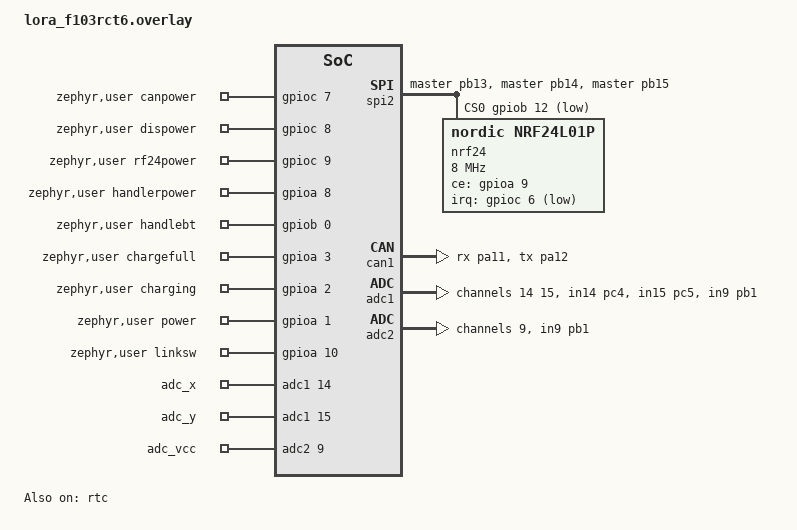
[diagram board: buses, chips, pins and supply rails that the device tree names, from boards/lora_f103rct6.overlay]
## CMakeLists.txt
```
# SPDX-License-Identifier: Apache-2.0

cmake_minimum_required(VERSION 3.20.0)

find_package(Zephyr REQUIRED HINTS $ENV{ZEPHYR_BASE})
project(mod_handler)

target_include_directories(app PRIVATE include)
target_sources(app PRIVATE
  src/adc.c
  src/can.c
  src/common.c
  src/display.c
  src/font_8x16.c
  src/font_5x8.c
  src/gpio.c
  src/rf24.c
  src/rf24_shell.c
  src/main.c
  src/persist.c
)
```

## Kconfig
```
# SPDX-License-Identifier: Apache-2.0
# mod_handler application configuration

mainmenu "mod_handler"

source "Kconfig.zephyr"

config MOD_HANDLER_ROW0_ASCII
	bool "Row 0 uses ASCII text instead of icons for connection type"
	default y
	help
	  Display "LoRa"/"CAN" text in Row 0 instead of bitmap icons.

config MOD_HANDLER_SCANNER_8X16
	bool "Use 8x16 font for scanner data rows"
	default y
	help
	  Use 8x16 font for overbreak/distance/coordinate display rows.
	  Disable to use 5x8 compact font.

config MOD_HANDLER_SHOW_XYZ
	bool "Show XYZ coordinate rows on display"
	default n
	help
	  Display X/Y/Z coordinate rows (Row 2-3). Disable to show only
	  overbreak and laser distance.
```

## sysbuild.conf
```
SB_CONFIG_BOOTLOADER_MCUBOOT=y
SB_CONFIG_MCUBOOT_MODE_SWAP_SCRATCH=y
SB_CONFIG_BOOT_SIGNATURE_KEY_FILE="${BOARD_DIR}/rsa_mcuboot_2048.pem"
```

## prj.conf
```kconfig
CONFIG_MAIN_STACK_SIZE=2048
CONFIG_SYSTEM_WORKQUEUE_STACK_SIZE=2048
# shell
CONFIG_SHELL=y
CONFIG_FLASH_MAP_SHELL=y
CONFIG_FLASH_SHELL=y

CONFIG_SERIAL=y
CONFIG_GPIO=y
CONFIG_LOG=y
# 增大缓冲 + 缓冲满时阻塞而非丢弃 (调试高频 log 不丢)
CONFIG_LOG_BUFFER_SIZE=4096
CONFIG_LOG_BLOCK_IN_THREAD=y

# 软件栈溢出检测 (Cortex-M3 无 SPLIM, 板级未开 ARM_MPU, 故 HW_STACK_PROTECTION
# 无效; STACK_SENTINEL 在线程栈底埋 magic, 上下文切换/中断退出时检查,
# 踩踏 → K_ERR_STACK_CHK_FAIL fatal)
CONFIG_STACK_SENTINEL=y

# can
CONFIG_CAN=y
CONFIG_CAN_SHELL=y
CONFIG_CAN_FW_UPGRADE=y

# spi + nRF24L01+ 2.4G 无线
CONFIG_SPI=y
CONFIG_NRF24L01P=y

# nRF24 链路层 XXTEA-CTR 加密 (用 rf24 地址作密钥; 须与 gateway 同时开关)
CONFIG_NRF24L01P_CRYPT=n

# adc
CONFIG_ADC=y

# img
CONFIG_IMG_MANAGER=y
CONFIG_STREAM_FLASH=y

# reboot
CONFIG_REBOOT=y

# i2c
CONFIG_I2C=y

#CRC
CONFIG_CRC=y

# hwinfo: 读 STM32 96-bit UID 派生 5B nRF24 地址 (HWINFO_STM32 默认随 SOC 自动启用)
CONFIG_HWINFO=y

# display
CONFIG_DISPLAY=y
# CONFIG_CHARACTER_FRAMEBUFFER=y

# Settings persistent storage (FCB backend)
CONFIG_SETTINGS=y
CONFIG_SETTINGS_RUNTIME=y
CONFIG_FCB=y

# PM
CONFIG_PM=y
CONFIG_PM_DEVICE=y
CONFIG_PM_DEVICE_SYSTEM_MANAGED=y
CONFIG_PM_DEVICE_SHELL=y
# 自定义 PM policy: sleeping 时无视任何定时器强制进 STOP, 保证真正进入低功耗
CONFIG_PM_POLICY_CUSTOM=y

# Display layout
CONFIG_MOD_HANDLER_ROW0_ASCII=y
CONFIG_MOD_HANDLER_SCANNER_8X16=y
# CONFIG_MOD_HANDLER_SHOW_XYZ is not set
```

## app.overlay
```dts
#include <zephyr/dt-bindings/gpio/gpio.h>

/ {
    	aliases {
        	sw0 = &button0;
    	};
	chosen {
		zephyr,canbus = &can1;
	};
        buttons {
        	compatible = "gpio-keys";
        	button0: button_0 {
			gpios = <&gpioc 13 GPIO_ACTIVE_HIGH>;
			label = "User button";
        	};
    	};

};

&usart2 {
	pinctrl-0 = <&usart2_tx_pa2 &usart2_rx_pa3>;
	pinctrl-names = "default";
	current-speed = <19200>;
	status = "okay";
};

&can1 {
	pinctrl-0 = <&can_rx_pa11 &can_tx_pa12>;
	pinctrl-names = "default";
	status = "okay";
};
```

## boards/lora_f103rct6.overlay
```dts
/ {
	chosen {
		zephyr,canbus = &can1;
		zephyr,settings-partition = &cfg_partition;
	};

	zephyr,user {
		canpower-gpios = <&gpioc 7 GPIO_ACTIVE_HIGH>;
		dispower-gpios = <&gpioc 8 GPIO_ACTIVE_HIGH>;
		rf24power-gpios = <&gpioc 9 GPIO_ACTIVE_HIGH>;
		handlerpower-gpios = <&gpioa 8 GPIO_ACTIVE_HIGH>;

		handlebt-gpios = <&gpiob 0 GPIO_ACTIVE_HIGH>;

		chargefull-gpios = <&gpioa 3 GPIO_PULL_UP>;
		charging-gpios = <&gpioa 2 GPIO_PULL_UP>;
		power-gpios = <&gpioa 1 GPIO_PULL_UP>;
		linksw-gpios = <&gpioa 10 GPIO_PULL_UP>;

		io-channels = <&adc1 14>, <&adc1 15>, <&adc2 9>;
		io-channel-names = "adc_x", "adc_y", "adc_vcc";
	};
};

&spi2 {
	pinctrl-0 = <&spi2_sck_master_pb13
		     &spi2_miso_master_pb14
		     &spi2_mosi_master_pb15>;
	pinctrl-names = "default";
	cs-gpios = <&gpiob 12 GPIO_ACTIVE_LOW>;
	status = "okay";

	nrf24: nrf24l01p@0 {
		compatible = "nordic,nrf24l01p";
		reg = <0x0>;
		spi-max-frequency = <8000000>;
		ce-gpios = <&gpioa 9 GPIO_ACTIVE_HIGH>;
		irq-gpios = <&gpioc 6 GPIO_ACTIVE_LOW>;
		channel = <76>;
		data-rate = "1m";
		tx-power = "0dbm";
	};
};

&can1 {
	pinctrl-0 = <&can_rx_pa11 &can_tx_pa12>;
	pinctrl-names = "default";
	status = "okay";
};

&adc1 {
    status = "okay";
    pinctrl-0 = <&adc1_in14_pc4 &adc1_in15_pc5 &adc1_in9_pb1>;
    pinctrl-names = "default";
    #address-cells = <1>;
    #size-cells = <0>;

    channel@e {
        reg = <14>;
        zephyr,gain = "ADC_GAIN_1";
        zephyr,reference = "ADC_REF_INTERNAL";
        zephyr,acquisition-time = <ADC_ACQ_TIME_DEFAULT>;
        zephyr,resolution = <12>;
    };

    channel@f {
        reg = <15>;
        zephyr,gain = "ADC_GAIN_1";
        zephyr,reference = "ADC_REF_INTERNAL";
        zephyr,acquisition-time = <ADC_ACQ_TIME_DEFAULT>;
        zephyr,resolution = <12>;
    };


};
&adc2 {
    status = "okay";
    pinctrl-0 = <&adc2_in9_pb1>;
    pinctrl-names = "default";
    #address-cells = <1>;
    #size-cells = <0>;
    channel@9 {
        reg = <9>;
        zephyr,gain = "ADC_GAIN_1";
        zephyr,reference = "ADC_REF_INTERNAL";
        zephyr,acquisition-time = <ADC_ACQ_TIME_DEFAULT>;
        zephyr,resolution = <12>;
    };
};

&rtc {
    clocks = <&rcc STM32_CLOCK_BUS_APB1 0x10000000>,
             <&rcc STM32_SRC_LSI RTC_SEL(2)>;
    status = "okay";
};
```

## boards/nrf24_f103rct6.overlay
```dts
/ {
	chosen {
		zephyr,canbus = &can1;
		zephyr,settings-partition = &cfg_partition;
	};

	zephyr,user {
		canpower-gpios = <&gpioc 7 GPIO_ACTIVE_HIGH>;
		dispower-gpios = <&gpioc 8 GPIO_ACTIVE_HIGH>;
		handlerpower-gpios = <&gpioa 8 GPIO_ACTIVE_HIGH>;

		handlebt-gpios = <&gpiob 0 GPIO_ACTIVE_HIGH>;

		chargefull-gpios = <&gpioa 3 GPIO_PULL_UP>;
		charging-gpios = <&gpioa 2 GPIO_PULL_UP>;
		power-gpios = <&gpioa 1 GPIO_PULL_UP>;
		linksw-gpios = <&gpioa 10 GPIO_PULL_UP>;

		io-channels = <&adc1 14>, <&adc1 15>, <&adc2 9>;
		io-channel-names = "adc_x", "adc_y", "adc_vcc";
	};
};

&spi2 {
	pinctrl-0 = <&spi2_sck_master_pb13
		     &spi2_miso_master_pb14
		     &spi2_mosi_master_pb15>;
	pinctrl-names = "default";
	cs-gpios = <&gpiob 12 GPIO_ACTIVE_LOW>;
	status = "okay";

	nrf24: nrf24l01p@0 {
		compatible = "nordic,nrf24l01p";
		reg = <0x0>;
		spi-max-frequency = <8000000>;
		ce-gpios = <&gpioa 9 GPIO_ACTIVE_HIGH>;
		irq-gpios = <&gpioc 6 GPIO_ACTIVE_LOW>;
		power-gpios = <&gpioc 9 GPIO_ACTIVE_HIGH>;
		channel = <1>;
		data-rate = "1m";
		tx-power = "0dbm";
		/* 半双工冲突优化: 缩短单次 TX 最坏占用 (ARD×ARC), 让冲突后更快切回
		 * PRX 给对端 ACK 机会. ARD=1500us + ARC=9 → 最坏 ~13.5ms (默认 4ms×15=60ms). */
		ard-us = <1500>;
		arc = <9>;
	};
};

&can1 {
	pinctrl-0 = <&can_rx_pa11 &can_tx_pa12>;
	pinctrl-names = "default";
	status = "okay";
};

&adc1 {
    status = "okay";
    pinctrl-0 = <&adc1_in14_pc4 &adc1_in15_pc5 &adc1_in9_pb1>;
    pinctrl-names = "default";
    #address-cells = <1>;
    #size-cells = <0>;

    channel@e {
        reg = <14>;
        zephyr,gain = "ADC_GAIN_1";
        zephyr,reference = "ADC_REF_INTERNAL";
        zephyr,acquisition-time = <ADC_ACQ_TIME_DEFAULT>;
        zephyr,resolution = <12>;
    };

    channel@f {
        reg = <15>;
        zephyr,gain = "ADC_GAIN_1";
        zephyr,reference = "ADC_REF_INTERNAL";
        zephyr,acquisition-time = <ADC_ACQ_TIME_DEFAULT>;
        zephyr,resolution = <12>;
    };


};
&adc2 {
    status = "okay";
    pinctrl-0 = <&adc2_in9_pb1>;
    pinctrl-names = "default";
    #address-cells = <1>;
    #size-cells = <0>;
    channel@9 {
        reg = <9>;
        zephyr,gain = "ADC_GAIN_1";
        zephyr,reference = "ADC_REF_INTERNAL";
        zephyr,acquisition-time = <ADC_ACQ_TIME_DEFAULT>;
        zephyr,resolution = <12>;
    };
};

&rtc {
    clocks = <&rcc STM32_CLOCK_BUS_APB1 0x10000000>,
             <&rcc STM32_SRC_LSI RTC_SEL(2)>;
    status = "okay";
};

/* PM 低功耗状态: 外设电源由应用层 system_sleep/system_wake 管理 (GPIO 断电),
 * PM 子系统进 STOP 时挂起设备 (I2C2 经 sleep pinctrl 切 analog 释放总线,
 * 唤醒后自动恢复) —— 防止 OLED 断电期间 I2C 总线被拉低卡死、唤醒后无法恢复。 */
&stop0 {
};

&stop1 {
};
```

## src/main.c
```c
/*
 * Copyright (c) 2026 Kabirz.
 * SPDX-License-Identifier: Apache-2.0
 *
 * 主入口 + 主循环 (休眠/唤醒事件驱动, 10 分钟无操作自动休眠)
 */

#include <zephyr/app_version.h>
#include <fw_gitver.h>
#ifndef CONFIG_FLASH_SIZE
#define CONFIG_FLASH_SIZE 0x1000
#endif
#include <zephyr/logging/log.h>
#include <common.h>
#include <mod-can.h>
#include <display.h>
#include <mod-gpio.h>
#include <rf24.h>
#include <zephyr/settings/settings.h>

LOG_MODULE_REGISTER(main_app, LOG_LEVEL_INF);

#define ACTIVITY_TIMEOUT_MS (10 * 60 * 1000) /* 10 minutes */

volatile uint32_t last_activity_time;
extern int adc_init_channels(void);

int main(void)
{
	LOG_INF("build time: %s-%s", __DATE__, __TIME__);
	LOG_INF("board: %s, system clk: %dMHz", CONFIG_BOARD_TARGET,
		CONFIG_SYS_CLOCK_HW_CYCLES_PER_SEC / MHZ(1));
	LOG_INF("flash size: %dKB, ram size: %dKB", CONFIG_FLASH_SIZE, CONFIG_SRAM_SIZE);
	LOG_INF("version: v%d.%d.%d_%s", APP_VERSION_MAJOR, APP_VERSION_MINOR,
		APP_PATCHLEVEL, FW_GIT_VERSION);

	last_activity_time = k_uptime_get_32();
	adc_init_channels();
	gpio_init();

	settings_load();

	connect_switch(global_params.connect_type);

	while (1) {
		if (global_params.sleeping) {
			k_event_wait(&global_params.event, WAKE_EVENT, false, K_FOREVER);
			continue;
		}

		if ((k_uptime_get_32() - last_activity_time) > ACTIVITY_TIMEOUT_MS) {
			system_sleep();
			LOG_INF("system entering sleep (inactivity timeout)");
			continue;
		}

		k_sleep(K_MSEC(500));
	}

	return 0;
}
```

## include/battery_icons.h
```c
// ============================================================
// Battery Icons for SH1106 Display (24x16, icon 24x10 centered)
// Format: Column-major, page-interleaved, LSB=top pixel
// 2 pages x 24 columns = 48 bytes per icon
// ============================================================

#ifndef BATTERY_ICONS_H
#define BATTERY_ICONS_H

#include <stdint.h>

#define BATTERY_ICON_W  24
#define BATTERY_ICON_H  16
#define BATTERY_ICON_PAGES  2
#define BATTERY_ICON_SIZE  (48)

// battery_levels[level] : level 0..4
// Data order: page0 cols[0..23] then page1 cols[0..23]
// [0] = battery_0
//     ........................
//     ........................
//     ........................
//     ######################..
//     #....................#..
//     #....................###
//     #....................###
//     #....................###
//     #....................###
//     #....................###
//     #....................###
//     #....................#..
//     ######################..
//     ........................
//     ........................
//     ........................
// [1] = battery_1
//     ........................
//     ........................
//     ........................
//     ######################..
//     #####................#..
//     #####................###
//     #####................###
//     #####................###
//     #####................###
//     #####................###
//     #####................###
//     #####................#..
//     ######################..
//     ........................
//     ........................
//     ........................
// [2] = battery_2
//     ........................
//     ........................
//     ........................
//     ######################..
//     #####.####...........#..
//     #####.####...........###
//     #####.####...........###
//     #####.####...........###
//     #####.####...........###
//     #####.####...........###
//     #####.####...........###
//     #####.####...........#..
//     ######################..
//     ........................
//     ........................
//     ........................
// [3] = battery_3
//     ........................
//     ........................
//     ........................
//     ######################..
//     #####.####.####......#..
//     #####.####.####......###
//     #####.####.####......###
//     #####.####.####......###
//     #####.####.####......###
//     #####.####.####......###
//     #####.####.####......###
//     #####.####.####......#..
//     ######################..
//     ........................
//     ........................
//     ........................
// [4] = battery_4
//     ........................
//     ........................
//     ........................
//     ######################..
//     #####.####.####.####.#..
//     #####.####.####.####.###
//     #####.####.####.####.###
//     #####.####.####.####.###
//     #####.####.####.####.###
//     #####.####.####.####.###
//     #####.####.####.####.###
//     #####.####.####.####.#..
//     ######################..
//     ........................
//     ........................
//     ........................
const uint8_t battery_levels[5][48] = {
    { // [0] level 0
        0xF8, 0x08, 0x08, 0x08, 0x08, 0x08, 0x08, 0x08, 0x08, 0x08, 0x08, 0x08,
        0x08, 0x08, 0x08, 0x08, 0x08, 0x08, 0x08, 0x08, 0x08, 0xF8, 0xE0, 0xE0,
        0x1F, 0x10, 0x10, 0x10, 0x10, 0x10, 0x10, 0x10, 0x10, 0x10, 0x10, 0x10,
        0x10, 0x10, 0x10, 0x10, 0x10, 0x10, 0x10, 0x10, 0x10, 0x1F, 0x07, 0x07
    },
    { // [1] level 1
        0xF8, 0xF8, 0xF8, 0xF8, 0xF8, 0x08, 0x08, 0x08, 0x08, 0x08, 0x08, 0x08,
        0x08, 0x08, 0x08, 0x08, 0x08, 0x08, 0x08, 0x08, 0x08, 0xF8, 0xE0, 0xE0,
        0x1F, 0x1F, 0x1F, 0x1F, 0x1F, 0x10, 0x10, 0x10, 0x10, 0x10, 0x10, 0x10,
        0x10, 0x10, 0x10, 0x10, 0x10, 0x10, 0x10, 0x10, 0x10, 0x1F, 0x07, 0x07
    },
    { // [2] level 2
        0xF8, 0xF8, 0xF8, 0xF8, 0xF8, 0x08, 0xF8, 0xF8, 0xF8, 0xF8, 0x08, 0x08,
        0x08, 0x08, 0x08, 0x08, 0x08, 0x08, 0x08, 0x08, 0x08, 0xF8, 0xE0, 0xE0,
        0x1F, 0x1F, 0x1F, 0x1F, 0x1F, 0x10, 0x1F, 0x1F, 0x1F, 0x1F, 0x10, 0x10,
        0x10, 0x10, 0x10, 0x10, 0x10, 0x10, 0x10, 0x10, 0x10, 0x1F, 0x07, 0x07
    },
    { // [3] level 3
        0xF8, 0xF8, 0xF8, 0xF8, 0xF8, 0x08, 0xF8, 0xF8, 0xF8, 0xF8, 0x08, 0xF8,
        0xF8, 0xF8, 0xF8, 0x08, 0x08, 0x08, 0x08, 0x08, 0x08, 0xF8, 0xE0, 0xE0,
        0x1F, 0x1F, 0x1F, 0x1F, 0x1F, 0x10, 0x1F, 0x1F, 0x1F, 0x1F, 0x10, 0x1F,
        0x1F, 0x1F, 0x1F, 0x10, 0x10, 0x10, 0x10, 0x10, 0x10, 0x1F, 0x07, 0x07
    },
    { // [4] level 4
        0xF8, 0xF8, 0xF8, 0xF8, 0xF8, 0x08, 0xF8, 0xF8, 0xF8, 0xF8, 0x08, 0xF8,
        0xF8, 0xF8, 0xF8, 0x08, 0xF8, 0xF8, 0xF8, 0xF8, 0x08, 0xF8, 0xE0, 0xE0,
        0x1F, 0x1F, 0x1F, 0x1F, 0x1F, 0x10, 0x1F, 0x1F, 0x1F, 0x1F, 0x10, 0x1F,
        0x1F, 0x1F, 0x1F, 0x10, 0x1F, 0x1F, 0x1F, 0x1F, 0x10, 0x1F, 0x07, 0x07
    }
};

// icon_charging
// ................
// ................
// ................
// ................
// .......##.......
// ......##........
// .....##.........
// ....######......
// ........##......
// .......##.......
// ......##........
// .....##.........
// ................
// ................
// ................
// ................
const uint8_t icon_charging[32] = {
        0x00, 0x00, 0x00, 0x00, 0x80, 0xC0, 0xE0, 0xB0, 0x90, 0x80, 0x00, 0x00, 0x00, 0x00, 0x00, 0x00,
        0x00, 0x00, 0x00, 0x00, 0x00, 0x08, 0x0C, 0x06, 0x03, 0x01, 0x00, 0x00, 0x00, 0x00, 0x00, 0x00
};

#endif // BATTERY_ICONS_H
```

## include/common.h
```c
#ifndef _MOD_COMMON_H
#define _MOD_COMMON_H

#include <zephyr/kernel.h>

typedef enum {
	BATTERY_STATUS_UNKNOWN = 0,
	BATTERY_STATUS_FULL,
	BATTERY_STATUS_CHARGING,
	BATTERY_STATUS_NOT_CHARGING,
	BATTERY_STATUS_DISCHARGING,
} battery_status_t;

typedef struct {
	int8_t overbreak_valid;
	int32_t overbreak_value;
	int8_t laser_valid;
	int32_t laser_distance;
	int8_t coord_xy_valid;
	int32_t coord_x;
	int32_t coord_y;
	int8_t coord_z_valid;
	int32_t coord_z;
} scanner_data_t;

#define WAKE_EVENT     BIT(0)
#define CAN_EVENT      BIT(2)
#define RF24_EVENT     BIT(3) /* 2.4G (nRF24L01+) 无线模式事件 */

typedef struct {
	int x_degree;
	int y_degree;
	uint8_t h_button;
	uint32_t power_mv;
#define CAN_TYPE   1
#define RF24_TYPE  2 /* 2.4G (nRF24L01+) 无线模式 */
#define REPORT_PERIOD_MS 800   /* 周期状态上报间隔，CAN/RF24 共用 */
	uint8_t connect_type;
	uint32_t report_period;
	battery_status_t battery_status;
	scanner_data_t scanner;
	uint8_t rssi;
	volatile bool sleeping;
	struct k_event event;
	bool log;
#define RF24_ADDR_LEN 5
#define RF24_FIXED_CH  1   /* nRF24 信道固定为 1, 不可配 */
	uint8_t rf24_addr[RF24_ADDR_LEN];
} global_params_t;

extern global_params_t global_params;

/* 按 connect_type 发送指定数据（CAN 帧 HANDLER_STATE / RF24 遥测）。
 * data/len 由调用方组装（CAN 通常 8 字节，RF24 7 字节）。返回 0 成功，<0 失败。
 */
int send_handler_state(const uint8_t *data, uint8_t len);

extern volatile uint32_t last_activity_time;

#endif
```

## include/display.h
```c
#ifndef _MOD_DISPLAY_H
#define _MOD_DISPLAY_H
#include <common.h>

void mod_display_reinit(void);
int mod_display_init(void);
void mod_display_clear(void);
void mod_display_lora(uint8_t rssi);
void mod_display_battery(uint32_t mv, battery_status_t status);
void mod_display_can(void);

void mod_display_scanner(const scanner_data_t *s);
void mod_display_all(const global_params_t *params);

/* 测试模式显示 (Row 1-3) */
void mod_display_test_rssi(int8_t rssi_raw, int8_t snr_raw);
void mod_display_test_loss(uint32_t loss_count);
void mod_display_test_rtt(uint32_t rtt_ms, uint32_t avg_ms);
void mod_display_test_all(const global_params_t *params);
void mod_display_normal_rows(const global_params_t *params);

#endif
```

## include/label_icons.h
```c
// ============================================================
// Label Icons for SH1106 Display (8x16, content 8x10 centered)
// Format: page0 cols[0..7] then page1 cols[0..7]
// 2 pages x 8 columns = 16 bytes per icon
// ============================================================

#ifndef LABEL_ICONS_H
#define LABEL_ICONS_H

#include <stdint.h>

#define LABEL_ICON_W  8
#define LABEL_ICON_H  16
#define LABEL_ICON_PAGES  2
#define LABEL_ICON_SIZE  (16)

// label_can
//     ........
//     ........
//     ........
//     ########
//     ##...###
//     #.###.##
//     #.######
//     #.######
//     #.######
//     #.###.##
//     ##...###
//     ########
//     ########
//     ........
//     ........
//     ........
const uint8_t label_can[16] = {
        0xF8, 0x18, 0xE8, 0xE8, 0xE8, 0xD8, 0xF8, 0xF8, 0x1F, 0x1C, 0x1B, 0x1B, 0x1B, 0x1D, 0x1F, 0x1F
};

// label_lora
//     ........
//     ........
//     ........
//     ########
//     #.######
//     #.######
//     #.######
//     #.######
//     #.######
//     #.######
//     #.....##
//     ########
//     ########
//     ........
//     ........
//     ........
const uint8_t label_lora[16] = {
        0xF8, 0x08, 0xF8, 0xF8, 0xF8, 0xF8, 0xF8, 0xF8, 0x1F, 0x18, 0x1B, 0x1B, 0x1B, 0x1B, 0x1F, 0x1F
};

#endif // LABEL_ICONS_H
```

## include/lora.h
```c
/*
 * Copyright (c) 2026 Kabirz.
 * SPDX-License-Identifier: Apache-2.0
 *
 * LoRa WH-L101-L 驱动接口
 */

#ifndef __LORA_H__
#define __LORA_H__

#include <zephyr/kernel.h>
#include <stdbool.h>
#include <stddef.h>
#include <stdint.h>
#include <common.h>

/**
 * @brief LoRa Data 类型字节 (Data 字段首字节)
 */
enum lora_data_type {
	LORA_DATA_HANDLER = 0x01, /* 手柄遥测数据 */
	LORA_DATA_TEST    = 0x02, /* 测试数据 */
	LORA_DATA_RSSI    = 0x03, /* RSSI 信号强度请求/响应 */
};

/**
 * @brief 打包并发送遥测数据帧
 *
 * 将操纵杆角度、按键状态打包为二进制帧通过 LoRa 发送.
 * Data 字段: [LORA_DATA_HANDLER][X 2B BE][Y 2B BE][btn][0xFF][0xFF][0xFF]
 *
 * @param params 全局参数
 * @return true 发送成功, false 模块繁忙或模式不匹配
 */
bool lora_send_telemetry(const global_params_t *params);

/**
 * @brief 发送 RSSI 信号强度请求帧
 *
 * Data 字段: [LORA_DATA_RSSI] (1 字节)
 * 网关响应类型 LORA_DATA_RSSI + 1 字节 rssi 值 (有符号)
 *
 * @return true 发送成功, false 模块繁忙或模式不匹配
 */
bool lora_send_rssi_request(void);

/**
 * @brief 数据模式下发送透传数据
 *
 * @param data 发送数据
 * @param len  数据长度
 * @return true 发送成功, false 模块繁忙或模式不匹配
 */
bool lora_data_send(const uint8_t *data, size_t len);

/**
 * @brief 进入 AT 指令模式 (+++a 握手)
 *
 * 会停止数据接收, 完成握手后切换到 AT 模式.
 * 调用者后续使用 lora_send_at() 发送指令, 完成后调用 lora_exit_at().
 *
 * @return 0 成功, -EBUSY 模块繁忙, -ETIMEDOUT 握手超时
 */
int lora_enter_at(void);

/**
 * @brief 退出 AT 指令模式 (AT+ENTM), 恢复数据收发
 *
 * @return 0 成功
 */
int lora_exit_at(void);

/**
 * @brief 发送 AT 指令并等待响应
 *
 * 必须在 lora_enter_at() 成功后调用.
 *
 * @param cmd        AT 指令 (不含 \r\n, 函数自动添加)
 * @param resp       响应缓冲区 (可为 NULL)
 * @param resp_size  响应缓冲区大小
 * @param timeout_ms 等待响应超时 (ms)
 * @return 0 成功, -EPERM 未进入 AT 模式, -ETIMEDOUT 超时
 */
int lora_send_at(const char *cmd, char *resp, size_t resp_size, uint32_t timeout_ms);

/**
 * @brief 读取 HOSTWAKE 引脚状态 (模块是否繁忙)
 *
 * HOST_WAKE (Pin 24) 是模块输出引脚:
 * - 高电平: 模块正在串口发送或无线收发中
 * - 低电平: 模块空闲
 *
 * @return true 模块繁忙, false 模块空闲
 */
bool lora_get_hostwake_status(void);

/**
 * @brief LG210 网关通信模式 (AT+WMODE)
 */
enum lora_gw_mode {
	LORA_GW_MODE_FP,      /* 点对点模式 */
	LORA_GW_MODE_TRANS,   /* 透传模式 (默认) */
	LORA_GW_MODE_NETWORK, /* 组网模式 */
};

/**
 * @brief LoRa 通信协议类型
 */
enum lora_gw_prot {
	LORA_PROT_NODE,  /* 点对点 (默认) */
	LORA_PROT_LG210, /* LG210 网关 */
	LORA_PROT_LG220, /* LG220 网关 */
};

/**
 * @brief LoRa 通信配置参数
 */
struct lora_config {
	enum lora_gw_mode mode; /* 通信模式 */
	enum lora_gw_prot prot; /* 通信协议 */
	uint8_t spd1;           /* 通道1空中速率等级 4-11 */
	uint16_t ch1;           /* 通道1频率 4100~5100, 单位100KHz */
	uint8_t spd2;           /* 通道2空中速率等级 4-11 */
	uint16_t ch2;           /* 通道2频率 4100~5100, 单位100KHz */
	uint8_t pnum;           /* 选择通道 0/1/2 */
};

/**
 * @brief 设置网关协议和工作模式
 *
 * 进入 AT 模式, 写入 LORAPROT + WMODE, 重启模块生效.
 *
 * @param prot 网关协议 (NODE/LG210/LG220)
 * @param mode 工作模式 (TRANS/FP/NET)
 * @return 0 成功, 负数失败
 */
int lora_set_gw_mode(enum lora_gw_prot prot, enum lora_gw_mode mode);

/**
 * @brief 查询当前通信参数
 *
 * 进入 AT 模式, 读取所有参数, 退出 AT 模式.
 *
 * @param cfg 返回当前参数
 * @return 0 成功, 负数失败
 */
int lora_query(struct lora_config *cfg);

/* ================================================================
 * LoRa 数据帧格式 (数据模式收发)
 *
 * 完整帧: [0xAA][0x55][NID 4B BE][Length 2B BE][Data NB][CRC16 2B BE][\r\n]
 *   帧头:   0xAA 0x55
 *   统一帧: [NID 4 bytes BE][Length 2 bytes BE][Data Length bytes][CRC16 2 bytes BE]
 *   帧尾:   \r\n
 *
 * NID:    uint32_t BE, 节点 ID
 * Length: uint16_t BE, Data 字段长度
 * Data:   [Type 1B][Payload NB] — 首字节为类型 (enum lora_data_type)
 * CRC16:  CRC16-CCITT, 覆盖 NID + Length + Data (不含帧头帧尾)
 *
 * AT 模式: 纯文本收发, 不使用帧头帧尾
 * 启动消息: "LoRa Start!\r\n" — 无帧头, 特殊处理
 *
 * 遥测帧 (手柄→网关): Data = [0x01][X 2B BE][Y 2B BE][btn][0xFF 3B] (9B)
 * RSSI 请求 (手柄→网关): Data = [0x03] (1B)
 * RSSI 响应 (网关→手柄): Data = [0x03][rssi 1B] (2B)
 * 扫描仪数据 (网关→手柄): Data = [0x01/0x02][CAN ID 2B BE][CAN data NB]
 * ================================================================ */
#define LORA_FRAME_NID_SIZE    4
#define LORA_FRAME_LEN_SIZE    2
#define LORA_FRAME_CRC_SIZE    2
#define LORA_FRAME_HEADER_SIZE (LORA_FRAME_NID_SIZE + LORA_FRAME_LEN_SIZE)    /* 6 */
#define LORA_FRAME_OVERHEAD    (LORA_FRAME_HEADER_SIZE + LORA_FRAME_CRC_SIZE) /* 8 */

/**
 * @brief 设置网关 ID 并写入模块
 *
 * 进入 AT 模式, 发送 AT+GWID, 保存并重启模块, 更新本地缓存.
 * 仅组网模式 (NET) 下有效.
 *
 * @param gwid 网关 ID
 * @return 0 成功, 负数失败
 */
int lora_set_gw_id(uint32_t gwid);

/**
 * @brief 设置节点 ID 并写入模块
 *
 * 进入 AT 模式, 发送 AT+NID, 保存并重启模块, 更新本地缓存.
 *
 * @param nid 新的节点 ID
 * @return 0 成功, 负数失败
 */
int lora_set_node_id(uint32_t nid);

/**
 * @brief LoRa 模块运行时初始化 (上电 + 硬件复位 + 启动 DMA)
 *
 * 上电并通过 RESET 引脚硬件复位模块, 等待 2s 启动完成,
 * 然后重启 DMA 双缓冲接收. 用于 CAN/LoRa 切换和系统唤醒.
 *
 * 注意: UART 回调必须在首次调用前已注册 (由 SYS_INIT 完成).
 *       AT 参数读取仅在 SYS_INIT 中执行一次, 此函数不读参数.
 */
void lora_init(void);

/**
 * @brief LoRa 模块去初始化 (停止 DMA + 断电)
 *
 * 先停止 DMA 接收, 再关闭模块电源. 用于 CAN/LoRa 切换和系统休眠,
 * 避免 UART 引脚悬空导致 DMA 状态损坏.
 */
void lora_deinit(void);

/**
 * @brief 设置通道1频率并重启模块
 */
int lora_set_ch1(uint16_t ch);

/**
 * @brief 设置通道2频率并重启模块
 */
int lora_set_ch2(uint16_t ch);

/**
 * @brief 设置通道1空中速率等级并重启模块
 */
int lora_set_spd1(uint8_t spd);

/**
 * @brief 设置通道2空中速率等级并重启模块
 */
int lora_set_spd2(uint8_t spd);

/**
 * @brief 设置工作通道选择并重启模块
 */
int lora_set_pnum(uint8_t pnum);

void lora_enter_test_mode(void);
void lora_exit_test_mode(void);

#endif /* __LORA_H__ */
```

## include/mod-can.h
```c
#ifndef __MOD_CAN_H__
#define __MOD_CAN_H__

#include <zephyr/kernel.h>
#include <zephyr/drivers/can.h>
#include <common.h>

enum {
	RF24_CONFIG_CMD = 0x110,    /* 平台→手柄: 设置/查询 rf24 通道 */
	RF24_CONFIG_RESP = 0x111,   /* 手柄→平台: rf24 配置响应 */
	COBID_HEATBEAT = 0x763,
	TEST_FRAME = 0x777,
	HANDLER_STATE = 0x1E3,
	OVERBREAK_LASER = 0x263,
	COORD_XY = 0x363,
	COORD_Z = 0x463,
};

/* RF24_CONFIG_CMD 命令类型 */
enum rf24_config_cmd {
	RF24_CMD_SET_CHANNEL = 0x01,  /* 设置通道: [cmd 1B][channel 1B][reserved 6B] */
	RF24_CMD_GET_CONFIG  = 0x02,  /* 查询配置: [cmd 1B][reserved 7B] */
};

int mod_can_send(struct can_frame *frame);

/**
 * @brief 解析扫描仪 CAN 数据 (0x263/0x363/0x463)
 *
 * @param frame CAN 接收帧
 */
void mod_can_parse_scanner(struct can_frame *frame);

#endif
```

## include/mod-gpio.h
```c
#ifndef __MOD_GPIO_H__
#define __MOD_GPIO_H__
#include <stdbool.h>
#include <common.h>
battery_status_t read_battery_status(void);
int gpio_init(void);
void connect_switch(uint8_t type);
void can_power_enable(bool up);
void rf24_power_enable(bool up);
void dis_power_enable(bool up);
void handler_power_enable(bool up);
int handler_get_btn(void);
void system_sleep(void);
#endif
```

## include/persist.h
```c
/*
 * Copyright (c) 2026 Kabirz.
 * SPDX-License-Identifier: Apache-2.0
 *
 * Settings 持久化存储接口 - 使用 Zephyr settings 子系统 (FCB 后端)
 * 存储到外部 SPI Flash (GD25Q80) 的 cfg_partition
 */

#ifndef __PERSIST_H__
#define __PERSIST_H__

/** 保存当前 connect_type 到 settings */
void persist_save_connect_type(void);

/** 保存当前 rf24_channel + rf24_addr 到 settings */
void persist_save_rf24_config(void);

#endif
```

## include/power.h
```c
#ifndef __MOD_POWER_H__
#define __MOD_POWER_H__
#include <stdbool.h>
void can_power_enable(bool up);
void lora_power_enable(bool up);
void dis_power_enable(bool up);
void p5_power_enable(bool up);
#endif
```

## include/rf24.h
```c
/*
 * Copyright (c) 2026 Kabirz.
 * SPDX-License-Identifier: Apache-2.0
 *
 * 2.4G 无线通信接口 (nRF24L01+)
 *
 * 帧格式 (单包 ≤ 32B): [CAN ID 2B BE][payload 0~30B]
 *   - 发送 (手柄→网关): ID = HANDLER_STATE (0x1E3),
 *     payload = [x 2B BE][y 2B BE][btn 1B][0xFF][0xFF][0xFF]
 *   - 接收 (网关→手柄): 按 CAN ID 分发到 mod_can_parse_scanner()
 *     (支持 OVERBREAK_LASER / COORD_XY / COORD_Z)
 */

#ifndef __RF24_H__
#define __RF24_H__

#include <stdbool.h>
#include <stddef.h>
#include <stdint.h>
#include <common.h>

/**
 * @brief nRF24L01+ 运行时初始化 (进入 PRX 接收模式, CE 拉高)
 *
 * 用于 CAN/2.4G 切换和系统唤醒. 设备由 SYS_INIT(POST_KERNEL) 自动初始化,
 * 本函数仅切换到接收模式.
 */
void rf24_init(void);

/**
 * @brief nRF24L01+ 去初始化 (进入 POWER_DOWN)
 *
 * 用于 CAN/2.4G 切换和系统休眠.
 */
void rf24_deinit(void);

/**
 * @brief 发送一帧 [CAN ID][数据] (2.4G 模式)
 *
 * @param can_id CAN 标识符 (写入帧头 2B BE)
 * @param data   载荷数据 (最多 30 字节)
 * @param len    载荷长度
 * @return true 发送成功, false 长度非法或发送失败
 */
bool rf24_data_send(uint16_t can_id, const uint8_t *data, size_t len);

/**
 * @brief 2.4G 链路状态
 *
 * nRF24L01+ 无硬件链路指示, 简化为常返回 true (假设在线).
 *
 * @return true
 */
bool rf24_get_link_status(void);

#endif /* __RF24_H__ */
```

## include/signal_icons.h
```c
// ============================================================
// Signal Icons for SH1106 Display (16x16)
// Format: page0 cols[0..15] then page1 cols[0..15]
// 2 pages x 16 columns = 32 bytes per icon
// ============================================================

#ifndef SIGNAL_ICONS_H
#define SIGNAL_ICONS_H

#include <stdint.h>

#define SIGNAL_ICON_W  16
#define SIGNAL_ICON_H  16
#define SIGNAL_ICON_PAGES  2
#define SIGNAL_ICON_SIZE  (32)

// signal_levels[level] : level 0..4
// Bar heights: 2, 4, 6, 8 px (bottom aligned)
// [0] level 0
//     ................
//     ................
//     ................
//     ................
//     ................
//     ................
//     ................
//     ................
//     ................
//     ................
//     ................
//     ................
//     ................
//     ................
//     ................
//     ................
// [1] level 1
//     ................
//     ................
//     ................
//     ................
//     ................
//     ................
//     ................
//     ................
//     ................
//     ................
//     ................
//     ..##............
//     ..##............
//     ................
//     ................
//     ................
// [2] level 2
//     ................
//     ................
//     ................
//     ................
//     ................
//     ................
//     ................
//     ................
//     ................
//     .....##.........
//     .....##.........
//     ..##.##.........
//     ..##.##.........
//     ................
//     ................
//     ................
// [3] level 3
//     ................
//     ................
//     ................
//     ................
//     ................
//     ................
//     ................
//     ........##......
//     ........##......
//     .....##.##......
//     .....##.##......
//     ..##.##.##......
//     ..##.##.##......
//     ................
//     ................
//     ................
// [4] level 4
//     ................
//     ................
//     ................
//     ................
//     ................
//     ...........##...
//     ...........##...
//     ........##.##...
//     ........##.##...
//     .....##.##.##...
//     .....##.##.##...
//     ..##.##.##.##...
//     ..##.##.##.##...
//     ................
//     ................
//     ................
const uint8_t signal_levels[5][32] = {
    { // [0] level 0
        0x00, 0x00, 0x00, 0x00, 0x00, 0x00, 0x00, 0x00, 0x00, 0x00, 0x00, 0x00, 0x00, 0x00, 0x00, 0x00,
        0x00, 0x00, 0x00, 0x00, 0x00, 0x00, 0x00, 0x00, 0x00, 0x00, 0x00, 0x00, 0x00, 0x00, 0x00, 0x00
    },
    { // [1] level 1
        0x00, 0x00, 0x00, 0x00, 0x00, 0x00, 0x00, 0x00, 0x00, 0x00, 0x00, 0x00, 0x00, 0x00, 0x00, 0x00,
        0x00, 0x00, 0x18, 0x18, 0x00, 0x00, 0x00, 0x00, 0x00, 0x00, 0x00, 0x00, 0x00, 0x00, 0x00, 0x00
    },
    { // [2] level 2
        0x00, 0x00, 0x00, 0x00, 0x00, 0x00, 0x00, 0x00, 0x00, 0x00, 0x00, 0x00, 0x00, 0x00, 0x00, 0x00,
        0x00, 0x00, 0x18, 0x18, 0x00, 0x1E, 0x1E, 0x00, 0x00, 0x00, 0x00, 0x00, 0x00, 0x00, 0x00, 0x00
    },
    { // [3] level 3
        0x00, 0x00, 0x00, 0x00, 0x00, 0x00, 0x00, 0x00, 0x80, 0x80, 0x00, 0x00, 0x00, 0x00, 0x00, 0x00,
        0x00, 0x00, 0x18, 0x18, 0x00, 0x1E, 0x1E, 0x00, 0x1F, 0x1F, 0x00, 0x00, 0x00, 0x00, 0x00, 0x00
    },
    { // [4] level 4
        0x00, 0x00, 0x00, 0x00, 0x00, 0x00, 0x00, 0x00, 0x80, 0x80, 0x00, 0xE0, 0xE0, 0x00, 0x00, 0x00,
        0x00, 0x00, 0x18, 0x18, 0x00, 0x1E, 0x1E, 0x00, 0x1F, 0x1F, 0x00, 0x1F, 0x1F, 0x00, 0x00, 0x00
    }
};

#endif // SIGNAL_ICONS_H
```

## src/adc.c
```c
/*
 * Copyright (c) 2026 Kabirz.
 * SPDX-License-Identifier: Apache-2.0
 *
 * ADC 操纵杆角度采集 + 电源电压采样
 * 基于 Zephyr ADC API, 500ms 周期采集 X/Y 角度, 2s 周期采集电压
 */

#include <zephyr/kernel.h>
#include <zephyr/logging/log.h>
#include <zephyr/sys/util.h>
#include <zephyr/sys/byteorder.h>
#include <zephyr/drivers/adc.h>
#include <common.h>
#include <display.h>
#include <mod-gpio.h>

LOG_MODULE_REGISTER(adc_reader, LOG_LEVEL_INF);

#define CAN_SLEEP_MS  20
#define RF24_SLEEP_MS 60
#define DT_SPEC_AND_COMMA(node_id, prop, idx) ADC_DT_SPEC_GET_BY_IDX(node_id, idx),

static const struct adc_dt_spec adc_channels[] = {
	DT_FOREACH_PROP_ELEM(DT_PATH(zephyr_user), io_channels, DT_SPEC_AND_COMMA)};


int adc_init_channels(void)
{
	int ret;

	for (size_t i = 0U; i < ARRAY_SIZE(adc_channels); i++) {
		if (!device_is_ready(adc_channels[i].dev)) {
			LOG_ERR("ADC device not ready");
			return -ENODEV;
		}

		ret = adc_channel_setup_dt(&adc_channels[i]);
		if (ret < 0) {
			LOG_ERR("Could not setup channel #%d (%d)", adc_channels[i].channel_id,
				ret);
			return ret;
		}
	}

	LOG_INF("ADC channels configured successfully");

	return ret;
}

/* 去除两个极值后求平均值 */
static int32_t trim_avg(int32_t *samples, int count)
{
	int32_t min_v = samples[0];
	int32_t max_v = samples[0];
	int32_t sum = 0;

	for (int i = 0; i < count; i++) {
		if (samples[i] < min_v) {
			min_v = samples[i];
		}
		if (samples[i] > max_v) {
			max_v = samples[i];
		}
		sum += samples[i];
	}
	return (sum - min_v - max_v) / (count - 2);
}

void adc_read_thread(void)
{
	int ret;
	uint16_t buf;
	struct adc_sequence sequence = {.buffer = &buf, .buffer_size = sizeof(buf)};
	int32_t val_mv;

	#define XY_SAMPLE_COUNT 10
	static int32_t x_samples[XY_SAMPLE_COUNT];
	static int32_t y_samples[XY_SAMPLE_COUNT];
	static int xy_sample_idx = 0;

	LOG_INF("ADC read thread started");

	while (true) {
		if (global_params.sleeping) {
			k_event_wait(&global_params.event, WAKE_EVENT, false, K_FOREVER);
			continue;
		}
		uint32_t t1 = k_uptime_get_32();

		/* 连续快速采集 10 次 X/Y */
		for (xy_sample_idx = 0; xy_sample_idx < XY_SAMPLE_COUNT; xy_sample_idx++) {
			for (size_t i = 0U; i < ARRAY_SIZE(adc_channels) - 1; i++) {
				(void)adc_sequence_init_dt(&adc_channels[i], &sequence);
				ret = adc_read_dt(&adc_channels[i], &sequence);
				if (ret < 0) {
					LOG_ERR("Could not read (%d)", ret);
					continue;
				}
				val_mv = (int32_t)buf;

				ret = adc_raw_to_millivolts_dt(&adc_channels[i], &val_mv);
				if (ret < 0) {
					LOG_ERR(" (value in mV not available)");
				} else {
					LOG_DBG("val[%d]: %d mv", i, val_mv);
				}
				/* 500~4500mV → -20~+20 (1° 单位) */
				if (i == 0) {
					x_samples[xy_sample_idx] =
						(CLAMP(val_mv * 10 / 6, 500, 4500) - 500) * 40 / 4000 - 20;
				} else {
					y_samples[xy_sample_idx] =
						(CLAMP(val_mv * 10 / 6, 500, 4500) - 500) * 40 / 4000 - 20;
				}
			}
			k_usleep(500);
		}

		/* 1° 精度平均值 */
		int x_degree = trim_avg(x_samples, XY_SAMPLE_COUNT);
		int y_degree = trim_avg(y_samples, XY_SAMPLE_COUNT);

		if (x_degree != global_params.x_degree ||
		    y_degree != global_params.y_degree) {
			last_activity_time = k_uptime_get_32();
			global_params.x_degree = x_degree;
			global_params.y_degree = y_degree;
		}

		/* 上报 */
		uint8_t buf[8];
		sys_put_be16((uint16_t)global_params.x_degree, &buf[0]);
		sys_put_be16((uint16_t)global_params.y_degree, &buf[2]);
		buf[4] = global_params.h_button;
		buf[5] = buf[6] = buf[7] = 0xff;
		if (global_params.log) {
			LOG_INF("x: %d, y: %d, button: %d",
				global_params.x_degree, global_params.y_degree, global_params.h_button);
		}
		send_handler_state(buf, 8);
		uint32_t diff = k_uptime_get_32() - t1;
		uint32_t sleep_ms = global_params.connect_type == CAN_TYPE ? CAN_SLEEP_MS : RF24_SLEEP_MS;
		if (diff < sleep_ms) {
			k_sleep(K_MSEC(sleep_ms - diff));
		}
	}
}
K_THREAD_DEFINE(thread_adc, 1024, adc_read_thread, NULL, NULL, NULL, 7, 0, 0);

void adc_power_thread(void)
{
	int ret;
	uint16_t buf;
	struct adc_sequence sequence = {.buffer = &buf, .buffer_size = sizeof(buf)};
	int32_t val_mv, power_mv = 0;
	static const struct adc_dt_spec *adc_voltage_channel = &adc_channels[ARRAY_SIZE(adc_channels) - 1];
	#define POWER_SAMPLE_COUNT 10
	static int32_t power_samples[POWER_SAMPLE_COUNT];
	static int power_sample_idx = 0;


	LOG_INF("ADC power thread started");
	(void)adc_sequence_init_dt(adc_voltage_channel, &sequence);

	while (true) {
		if (global_params.sleeping) {
			k_event_wait(&global_params.event, WAKE_EVENT, false, K_FOREVER);
			continue;
		}

		ret = adc_read_dt(adc_voltage_channel, &sequence);
		if (ret < 0) {
			LOG_ERR("Could not read power channel (%d)", ret);
		} else {
			val_mv = (int32_t)buf;
			ret = adc_raw_to_millivolts_dt(adc_voltage_channel, &val_mv);
			if (ret == 0) {
				power_samples[power_sample_idx] = val_mv * 2;
				power_sample_idx++;
			}
		}

		if (power_sample_idx >= POWER_SAMPLE_COUNT) {
			power_mv = trim_avg(power_samples, POWER_SAMPLE_COUNT);
			power_sample_idx = 0;

			battery_status_t battery_status = read_battery_status();
			if (power_mv != global_params.power_mv ||
			    global_params.battery_status != battery_status) {
				mod_display_battery(power_mv, battery_status);
				global_params.power_mv = power_mv;
				global_params.battery_status = battery_status;
			}
		}

		k_sleep(K_MSEC(200));
	}
}

K_THREAD_DEFINE(thread_adc_power, 1024, adc_power_thread, NULL, NULL, NULL, 8, 0, 0);
```
